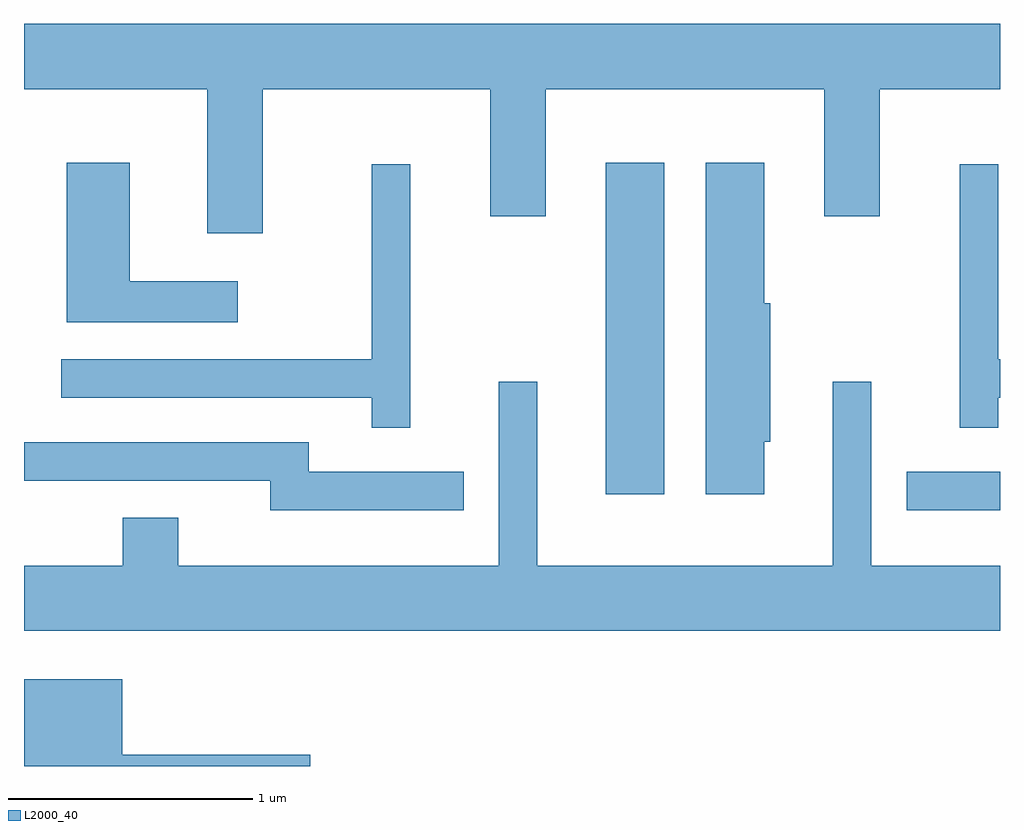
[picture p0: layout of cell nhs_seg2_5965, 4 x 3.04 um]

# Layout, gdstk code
import gdstk
lib = gdstk.Library(unit=1e-6, precision=1e-09)
def R(c, l, rs):  # rectangles x0, y0, x1, y1
    for r in rs: c.add(gdstk.rectangle(r[:2], r[2:], *l))
def P(c, l, *ps):  # polygons
    for p in ps: c.add(gdstk.Polygon(p, *l))
L2000_40 = (2000, 40)

nhs_seg2_5965 = lib.new_cell('nhs_seg2_5965')
R(nhs_seg2_5965, L2000_40, [(365.228,1008.851,365.611,1009.009), (363.996,1008.916,364.234,1010.274)])
P(nhs_seg2_5965, L2000_40, [(362.589,1010.576),(363.521,1010.576),(363.521,1010.056),(363.749,1010.056),(363.749,1010.576),(364.891,1010.576),(364.891,1010.056),(365.119,1010.056),(365.119,1010.576),(365.611,1010.576),(365.611,1010.844),(361.611,1010.844),(361.611,1010.576),(362.361,1010.576),(362.361,1009.986),(362.589,1009.986)],
  [(364.644,1009.131),(364.669,1009.131),(364.669,1009.699),(364.644,1009.699),(364.644,1010.274),(364.406,1010.274),(364.406,1008.916),(364.644,1008.916)],
  [(362.488,1009.789),(362.044,1009.789),(362.044,1010.274),(361.786,1010.274),(361.786,1009.621),(362.488,1009.621)],
  [(363.194,1010.268),(363.036,1010.268),(363.036,1009.469),(361.763,1009.469),(361.763,1009.311),(363.036,1009.311),(363.036,1009.188),(363.194,1009.188)],
  [(365.604,1009.311),(365.611,1009.311),(365.611,1009.469),(365.604,1009.469),(365.604,1010.268),(365.446,1010.268),(365.446,1009.188),(365.604,1009.188)],
  [(365.611,1008.624),(365.084,1008.624),(365.084,1009.378),(364.926,1009.378),(364.926,1008.624),(363.714,1008.624),(363.714,1009.378),(363.556,1009.378),(363.556,1008.624),(362.244,1008.624),(362.244,1008.819),(362.016,1008.819),(362.016,1008.624),(361.611,1008.624),(361.611,1008.356),(365.611,1008.356)],
  [(363.413,1009.009),(362.779,1009.009),(362.779,1009.129),(361.611,1009.129),(361.611,1008.971),(362.621,1008.971),(362.621,1008.851),(363.413,1008.851)],
  [(362.784,1007.849),(362.014,1007.849),(362.014,1008.159),(361.611,1008.159),(361.611,1007.802),(362.784,1007.802)])

lib.write_gds('nhs_seg2_5965.gds')
